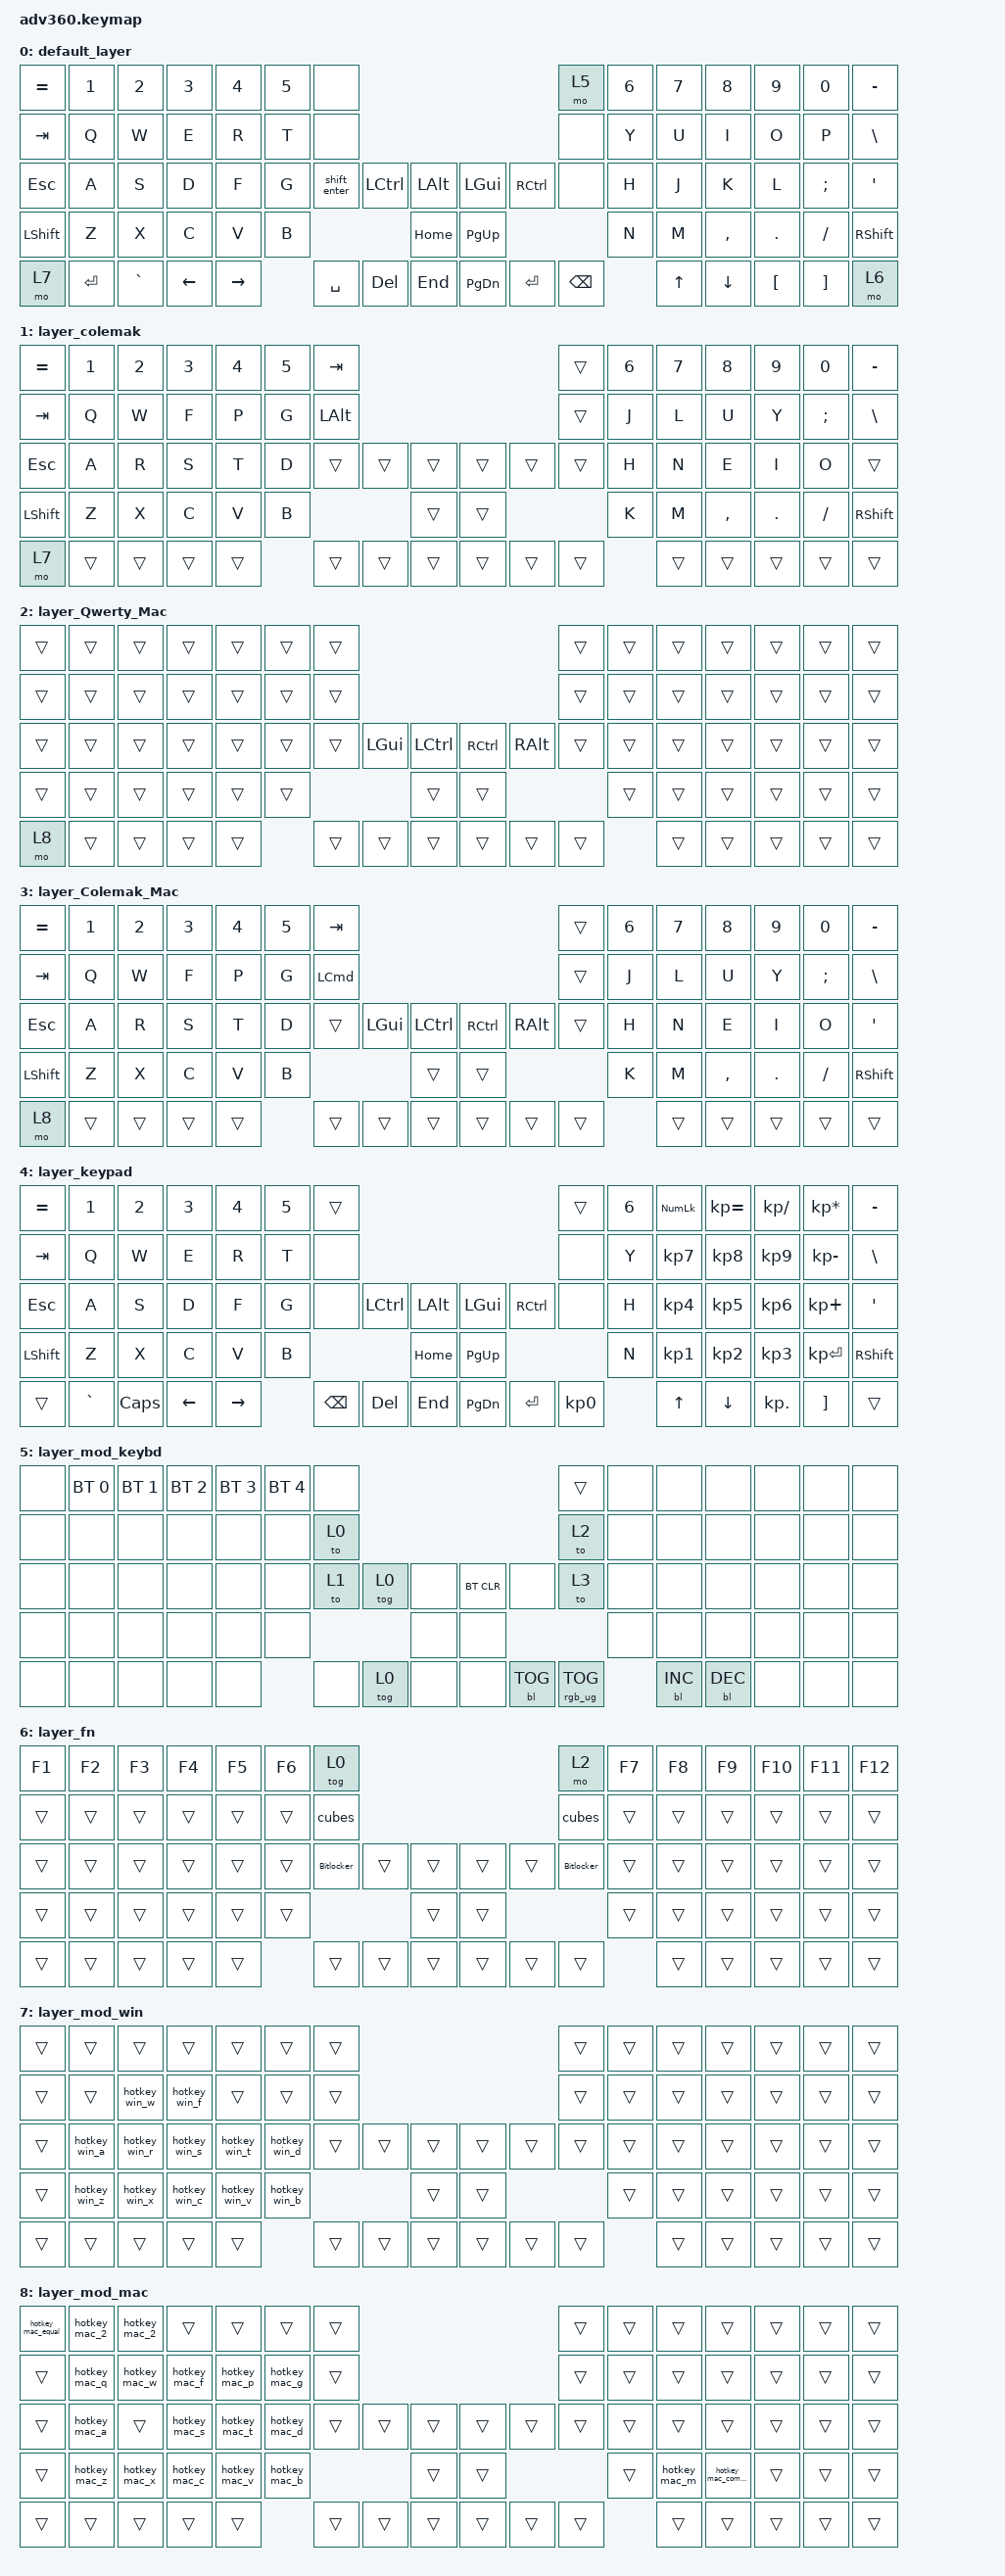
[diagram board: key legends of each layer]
/*
 * Copyright (c) 2020 The ZMK Contributors
 *
 * SPDX-License-Identifier: MIT
 */
/* THIS FILE WAS GENERATED!
 *
 * This file was generated automatically. You may or may not want to
 * edit it directly.
 */

#include <behaviors.dtsi>
#include <dt-bindings/zmk/backlight.h>
#include <dt-bindings/zmk/bt.h>
#include <dt-bindings/zmk/keys.h>
#include <dt-bindings/zmk/rgb.h>

/ {
    behaviors {
        #include "macros.dtsi"

        hm: homerow_mods {
            compatible = "zmk,behavior-hold-tap";
            label = "HOMEROW_MODS";
            #binding-cells = <2>;
            tapping-term-ms = <200>;
            quick_tap_ms = <175>;
            flavor = "tap-preferred";
            bindings = <&kp>, <&kp>;
        };
    };

    combos { compatible = "zmk,combos"; };

    macros {
        cubes: cubes {
            compatible = "zmk,behavior-macro";
            #binding-cells = <0>;
            bindings = <&kp LS(C) &kp U &kp B &kp E &kp S &kp N6 &kp N3 &kp N2 &kp LS(C) &kp A &kp K &kp E &kp S &kp EXCL>;
            label = "CUBES";
        };

        hotkey_mac_a: hotkey_mac_a {
            compatible = "zmk,behavior-macro";
            #binding-cells = <0>;
            bindings = <&kp LS(LA(A))>;
            label = "HOTKEY_MAC_A";
        };

        hotkey_mac_c: hotkey_mac_c {
            compatible = "zmk,behavior-macro";
            #binding-cells = <0>;
            bindings = <&kp LS(LA(C))>;
            label = "HOTKEY_MAC_C";
        };

        hotkey_mac_s: hotkey_mac_s {
            compatible = "zmk,behavior-macro";
            #binding-cells = <0>;
            bindings = <&kp LS(LA(S))>;
            label = "HOTKEY_MAC_S";
        };

        hotkey_mac_f: hotkey_mac_f {
            compatible = "zmk,behavior-macro";
            #binding-cells = <0>;
            bindings = <&kp LS(LA(F))>;
            label = "HOTKEY_MAC_F";
        };

        hotkey_mac_w: hotkey_mac_w {
            compatible = "zmk,behavior-macro";
            #binding-cells = <0>;
            bindings = <&kp LS(LA(W))>;
            label = "HOTKEY_MAC_W";
        };

        hotkey_mac_q: hotkey_mac_q {
            compatible = "zmk,behavior-macro";
            #binding-cells = <0>;
            bindings = <&kp LS(LA(Q))>;
            label = "HOTKEY_MAC_Q";
        };

        hotkey_mac_r: hotkey_mac_r {
            compatible = "zmk,behavior-macro";
            #binding-cells = <0>;
            bindings = <&kp LS(LA(R))>;
            label = "HOTKEY_MAC_R";
        };

        hotkey_mac_v: hotkey_mac_v {
            compatible = "zmk,behavior-macro";
            #binding-cells = <0>;
            bindings = <&kp LS(LA(V))>;
            label = "HOTKEY_MAC_V";
        };

        hotkey_mac_t: hotkey_mac_t {
            compatible = "zmk,behavior-macro";
            #binding-cells = <0>;
            bindings = <&kp LS(LA(T))>;
            label = "HOTKEY_MAC_T";
        };

        hotkey_mac_d: hotkey_mac_d {
            compatible = "zmk,behavior-macro";
            #binding-cells = <0>;
            bindings = <&kp LS(LA(D))>;
            label = "HOTKEY_MAC_D";
        };

        hotkey_win_a: hotkey_win_a {
            compatible = "zmk,behavior-macro";
            #binding-cells = <0>;
            bindings = <&kp LS(LG(A))>;
            label = "HOTKEY_WIN_A";
        };

        hotkey_mac_z: hotkey_mac_z {
            compatible = "zmk,behavior-macro";
            #binding-cells = <0>;
            bindings = <&kp LS(LA(Z))>;
            label = "HOTKEY_MAC_Z";
        };

        hotkey_mac_x: hotkey_mac_x {
            compatible = "zmk,behavior-macro";
            #binding-cells = <0>;
            bindings = <&kp LS(LA(X))>;
            label = "HOTKEY_MAC_X";
        };

        hotkey_win_f: hotkey_win_f {
            compatible = "zmk,behavior-macro";
            #binding-cells = <0>;
            bindings = <&kp LS(LG(F))>;
            label = "HOTKEY_WIN_F";
        };

        hotkey_win_r: hotkey_win_r {
            compatible = "zmk,behavior-macro";
            #binding-cells = <0>;
            bindings = <&kp LS(LG(R))>;
            label = "HOTKEY_WIN_R";
        };

        hotkey_win_s: hotkey_win_s {
            compatible = "zmk,behavior-macro";
            #binding-cells = <0>;
            bindings = <&kp LS(LG(S))>;
            label = "HOTKEY_WIN_S";
        };

        hotkey_win_t: hotkey_win_t {
            compatible = "zmk,behavior-macro";
            #binding-cells = <0>;
            bindings = <&kp LS(LG(T))>;
            label = "HOTKEY_WIN_T";
        };

        hotkey_win_d: hotkey_win_d {
            compatible = "zmk,behavior-macro";
            #binding-cells = <0>;
            bindings = <&kp LS(LG(D))>;
            label = "HOTKEY_WIN_D";
        };

        hotkey_win_z: hotkey_win_z {
            compatible = "zmk,behavior-macro";
            #binding-cells = <0>;
            bindings = <&kp LS(LG(Z))>;
            label = "HOTKEY_WIN_Z";
        };

        hotkey_win_x: hotkey_win_x {
            compatible = "zmk,behavior-macro";
            #binding-cells = <0>;
            bindings = <&kp LS(LG(X))>;
            label = "HOTKEY_WIN_X";
        };

        hotkey_win_c: hotkey_win_c {
            compatible = "zmk,behavior-macro";
            #binding-cells = <0>;
            bindings = <&kp LS(LG(C))>;
            label = "HOTKEY_WIN_C";
        };

        hotkey_win_v: hotkey_win_v {
            compatible = "zmk,behavior-macro";
            #binding-cells = <0>;
            bindings = <&kp LS(LG(V))>;
            label = "HOTKEY_WIN_V";
        };

        hotkey_win_b: hotkey_win_b {
            compatible = "zmk,behavior-macro";
            #binding-cells = <0>;
            bindings = <&kp LS(LG(B))>;
            label = "HOTKEY_WIN_B";
        };

        hotkey_win_w: hotkey_win_w {
            compatible = "zmk,behavior-macro";
            #binding-cells = <0>;
            bindings = <&kp LS(LG(W))>;
            label = "HOTKEY_WIN_W";
        };

        hotkey_mac_equal: hotkey_mac_equal {
            compatible = "zmk,behavior-macro";
            #binding-cells = <0>;
            bindings = <&kp LS(LA(EQUAL))>;
            label = "HOTKEY_MAC_EQUAL";
        };

        hotkey_mac_2: hotkey_mac_2 {
            compatible = "zmk,behavior-macro";
            #binding-cells = <0>;
            bindings = <&kp LS(LA(NUMBER_2))>;
            label = "HOTKEY_MAC_2";
        };

        shift_enter: shift_enter {
            compatible = "zmk,behavior-macro";
            #binding-cells = <0>;
            bindings = <&kp LS(ENTER)>;
            label = "SHIFT_ENTER";
        };

        hotkey_mac_m: hotkey_mac_m {
            compatible = "zmk,behavior-macro";
            #binding-cells = <0>;
            bindings = <&kp LS(LA(M))>;
            label = "HOTKEY_MAC_M";
        };

        hotkey_mac_comma: hotkey_mac_comma {
            compatible = "zmk,behavior-macro";
            #binding-cells = <0>;
            bindings = <&kp LS(LA(COMMA))>;
            label = "HOTKEY_MAC_COMMA";
        };

        hotkey_mac_p: hotkey_mac_p {
            compatible = "zmk,behavior-macro";
            #binding-cells = <0>;
            bindings = <&kp LS(LA(P))>;
            label = "HOTKEY_MAC_P";
        };

        hotkey_mac_g: hotkey_mac_g {
            compatible = "zmk,behavior-macro";
            #binding-cells = <0>;
            bindings = <&kp LS(LA(G))>;
            label = "HOTKEY_MAC_G";
        };

        hotkey_mac_b: hotkey_mac_b {
            compatible = "zmk,behavior-macro";
            #binding-cells = <0>;
            bindings = <&kp LS(LA(B))>;
            label = "HOTKEY_MAC_B";
        };

        Bitlocker: Bitlocker {
            compatible = "zmk,behavior-macro";
            #binding-cells = <0>;
            bindings = <&kp NUMBER_4 &kp NUMBER_4 &kp NUMBER_2 &kp N5 &kp N0 &kp N8 &kp NUMBER_1 &kp N7 &kp N0 &kp N8>;
            label = "BITLOCKER";
        };
    };

    keymap {
        compatible = "zmk,keymap";

        default_layer {
            bindings = <
&kp EQUAL  &kp N1     &kp N2     &kp N3    &kp N4     &kp N5  &none                                                        &mo 5          &kp N6  &kp N7  &kp N8     &kp N9    &kp N0    &kp MINUS
&kp TAB    &kp Q      &kp W      &kp E     &kp R      &kp T   &none                                                        &none          &kp Y   &kp U   &kp I      &kp O     &kp P     &kp BSLH
&kp ESC    &kp A      &kp S      &kp D     &kp F      &kp G   &shift_enter  &kp LCTRL  &kp LALT      &kp LGUI   &kp RCTRL  &none          &kp H   &kp J   &kp K      &kp L     &kp SEMI  &kp SQT
&kp LSHFT  &kp Z      &kp X      &kp C     &kp V      &kp B                            &kp HOME      &kp PG_UP                            &kp N   &kp M   &kp COMMA  &kp DOT   &kp FSLH  &kp RSHFT
&mo 7      &kp ENTER  &kp GRAVE  &kp LEFT  &kp RIGHT          &kp SPACE     &kp DEL    &kp END       &kp PG_DN  &kp ENTER  &kp BACKSPACE          &kp UP  &kp DOWN   &kp LBKT  &kp RBKT  &mo 6
            >;
        };

        layer_colemak {
            bindings = <
&kp EQUAL  &kp N1  &kp N2  &kp N3  &kp N4  &kp N5  &kp TAB                                           &trans  &kp N6  &kp N7  &kp N8     &kp N9      &kp N0         &kp MINUS
&kp TAB    &kp Q   &kp W   &kp F   &kp P   &kp G   &kp LEFT_ALT                                      &trans  &kp J   &kp L   &kp U      &kp Y       &kp SEMICOLON  &kp BSLH
&kp ESC    &kp A   &kp R   &kp S   &kp T   &kp D   &trans        &trans  &trans      &trans  &trans  &trans  &kp H   &kp N   &kp E      &kp I       &kp O          &trans
&kp LSHFT  &kp Z   &kp X   &kp C   &kp V   &kp B                         &trans      &trans                  &kp K   &kp M   &kp COMMA  &kp PERIOD  &kp SLASH      &kp RSHFT
&mo 7      &trans  &trans  &trans  &trans          &trans        &trans  &trans      &trans  &trans  &trans          &trans  &trans     &trans      &trans         &trans
            >;
        };

        layer_Qwerty_Mac {
            bindings = <
&trans  &trans  &trans  &trans  &trans  &trans  &trans                                                                    &trans  &trans  &trans  &trans  &trans  &trans  &trans
&trans  &trans  &trans  &trans  &trans  &trans  &trans                                                                    &trans  &trans  &trans  &trans  &trans  &trans  &trans
&trans  &trans  &trans  &trans  &trans  &trans  &trans  &kp LGUI  &kp LEFT_CONTROL      &kp RIGHT_CONTROL  &kp RIGHT_ALT  &trans  &trans  &trans  &trans  &trans  &trans  &trans
&trans  &trans  &trans  &trans  &trans  &trans                    &trans                &trans                                    &trans  &trans  &trans  &trans  &trans  &trans
&mo 8   &trans  &trans  &trans  &trans          &trans  &trans    &trans                &trans             &trans         &trans          &trans  &trans  &trans  &trans  &trans
            >;
        };

        layer_Colemak_Mac {
            bindings = <
&kp EQUAL  &kp N1  &kp N2  &kp N3  &kp N4  &kp N5  &kp TAB                                                                             &trans  &kp N6  &kp N7  &kp N8     &kp N9   &kp N0         &kp MINUS
&kp TAB    &kp Q   &kp W   &kp F   &kp P   &kp G   &kp LEFT_COMMAND                                                                    &trans  &kp J   &kp L   &kp U      &kp Y    &kp SEMICOLON  &kp BSLH
&kp ESC    &kp A   &kp R   &kp S   &kp T   &kp D   &trans            &kp LGUI  &kp LEFT_CONTROL      &kp RIGHT_CONTROL  &kp RIGHT_ALT  &trans  &kp H   &kp N   &kp E      &kp I    &kp O          &kp APOS
&kp LSHFT  &kp Z   &kp X   &kp C   &kp V   &kp B                               &trans                &trans                                    &kp K   &kp M   &kp COMMA  &kp DOT  &kp FSLH       &kp RSHFT
&mo 8      &trans  &trans  &trans  &trans          &trans            &trans    &trans                &trans             &trans         &trans          &trans  &trans     &trans   &trans         &trans
            >;
        };

        layer_keypad {
            bindings = <
&kp EQUAL  &kp N1     &kp N2    &kp N3    &kp N4     &kp N5  &trans                                                   &trans     &kp N6  &kp KP_NUM  &kp KP_EQUAL  &kp KP_DIVIDE  &kp KP_MULTIPLY  &kp MINUS
&kp TAB    &kp Q      &kp W     &kp E     &kp R      &kp T   &none                                                    &none      &kp Y   &kp KP_N7   &kp KP_N8     &kp KP_N9      &kp KP_MINUS     &kp BSLH
&kp ESC    &kp A      &kp S     &kp D     &kp F      &kp G   &none     &kp LCTRL  &kp LALT      &kp LGUI   &kp RCTRL  &none      &kp H   &kp KP_N4   &kp KP_N5     &kp KP_N6      &kp KP_PLUS      &kp SQT
&kp LSHFT  &kp Z      &kp X     &kp C     &kp V      &kp B                        &kp HOME      &kp PG_UP                        &kp N   &kp KP_N1   &kp KP_N2     &kp KP_N3      &kp KP_ENTER     &kp RSHFT
&trans     &kp GRAVE  &kp CAPS  &kp LEFT  &kp RIGHT          &kp BSPC  &kp DEL    &kp END       &kp PG_DN  &kp ENTER  &kp KP_N0          &kp UP      &kp DOWN      &kp KP_DOT     &kp RBKT         &trans
            >;
        };

        layer_mod_keybd {
            bindings = <
&none  &bt BT_SEL 0  &bt BT_SEL 1  &bt BT_SEL 2  &bt BT_SEL 3  &bt BT_SEL 4  &none                                             &trans           &none  &none       &none       &none  &none  &none
&none  &none         &none         &none         &none         &none         &to 0                                             &to 2            &none  &none       &none       &none  &none  &none
&none  &none         &none         &none         &none         &none         &to 1  &tog 0  &none      &bt BT_CLR  &none       &to 3            &none  &none       &none       &none  &none  &none
&none  &none         &none         &none         &none         &none                        &none      &none                                    &none  &none       &none       &none  &none  &none
&none  &none         &none         &none         &none                       &none  &tog 0  &none      &none       &bl BL_TOG  &rgb_ug RGB_TOG         &bl BL_INC  &bl BL_DEC  &none  &none  &none
            >;
        };

        layer_fn {
            bindings = <
&kp F1  &kp F2  &kp F3  &kp F4  &kp F5  &kp F6  &tog 0                                          &mo 2       &kp F7  &kp F8  &kp F9  &kp F10  &kp F11  &kp F12
&trans  &trans  &trans  &trans  &trans  &trans  &cubes                                          &cubes      &trans  &trans  &trans  &trans   &trans   &trans
&trans  &trans  &trans  &trans  &trans  &trans  &Bitlocker  &trans  &trans      &trans  &trans  &Bitlocker  &trans  &trans  &trans  &trans   &trans   &trans
&trans  &trans  &trans  &trans  &trans  &trans                      &trans      &trans                      &trans  &trans  &trans  &trans   &trans   &trans
&trans  &trans  &trans  &trans  &trans          &trans      &trans  &trans      &trans  &trans  &trans              &trans  &trans  &trans   &trans   &trans
            >;
        };

        layer_mod_win {
            bindings = <
&trans  &trans         &trans         &trans         &trans         &trans         &trans                                      &trans  &trans  &trans  &trans  &trans  &trans  &trans
&trans  &trans         &hotkey_win_w  &hotkey_win_f  &trans         &trans         &trans                                      &trans  &trans  &trans  &trans  &trans  &trans  &trans
&trans  &hotkey_win_a  &hotkey_win_r  &hotkey_win_s  &hotkey_win_t  &hotkey_win_d  &trans  &trans  &trans      &trans  &trans  &trans  &trans  &trans  &trans  &trans  &trans  &trans
&trans  &hotkey_win_z  &hotkey_win_x  &hotkey_win_c  &hotkey_win_v  &hotkey_win_b                  &trans      &trans                  &trans  &trans  &trans  &trans  &trans  &trans
&trans  &trans         &trans         &trans         &trans                        &trans  &trans  &trans      &trans  &trans  &trans          &trans  &trans  &trans  &trans  &trans
            >;
        };

        layer_mod_mac {
            bindings = <
&hotkey_mac_equal  &hotkey_mac_2  &hotkey_mac_2  &trans         &trans         &trans         &trans                                      &trans  &trans  &trans         &trans             &trans  &trans  &trans
&trans             &hotkey_mac_q  &hotkey_mac_w  &hotkey_mac_f  &hotkey_mac_p  &hotkey_mac_g  &trans                                      &trans  &trans  &trans         &trans             &trans  &trans  &trans
&trans             &hotkey_mac_a  &trans         &hotkey_mac_s  &hotkey_mac_t  &hotkey_mac_d  &trans  &trans  &trans      &trans  &trans  &trans  &trans  &trans         &trans             &trans  &trans  &trans
&trans             &hotkey_mac_z  &hotkey_mac_x  &hotkey_mac_c  &hotkey_mac_v  &hotkey_mac_b                  &trans      &trans                  &trans  &hotkey_mac_m  &hotkey_mac_comma  &trans  &trans  &trans
&trans             &trans         &trans         &trans         &trans                        &trans  &trans  &trans      &trans  &trans  &trans          &trans         &trans             &trans  &trans  &trans
            >;
        };
    };
};
